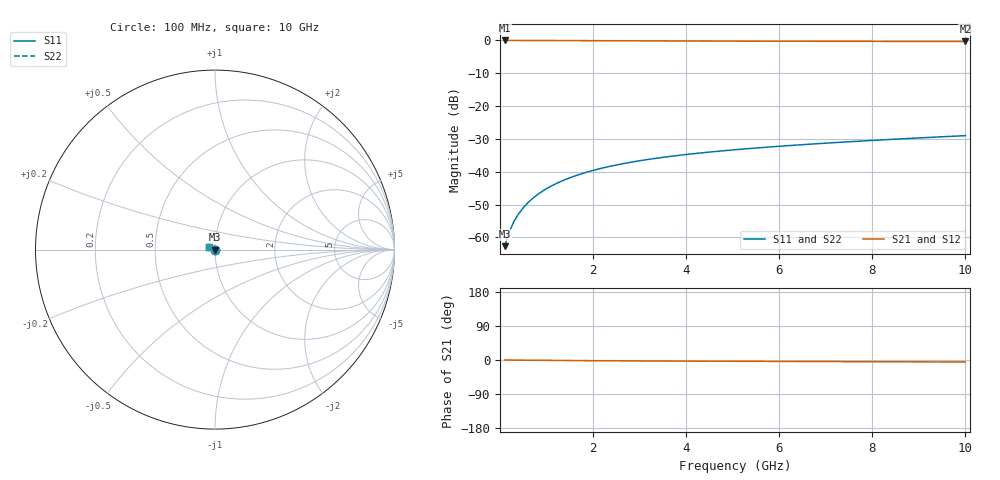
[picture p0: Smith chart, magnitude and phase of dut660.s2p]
! Touchstone file exported from HFSS 2024.1.0
!  File:  C:/UserFiles/LocalFiles/RDL_TSV_Batchsim/temp_TSV1_660_1779793118.aedt
!  Generated:  07:05:19 PM May 26, 2026
!  Design:  TSV1
!  Project:  temp_TSV1_660_1779793118
!  Setup:  Setup1
!  Solution:  Sweep
! Variables:
!  dtsv = 5.3um
!  hbump = 3um
!  htsv = 78.95um
!  lrdl = 252.1521522um
!  p = 40
!  p1 = 43.23um
!  t = 500um
!  trdl = 3um
!  wrdl = 24.89489489um
# GHz S MA R 50.000000
! Terminal data exported
! Port[1] = TSV22_T1
! Port[2] = TSV22_T2
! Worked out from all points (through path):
!   100 points, 100 MHz to 10 GHz, reference 50 ohm
!   highest |S21| = 0.00 dB at 100 MHz (marker M1); lowest = -0.3 dB at 10 GHz (marker M2)
!   lowest |S11| = -62.7 dB at 100 MHz (marker M3), VSWR 1.00, Z = 50 - j0.0565 ohm
!   |S11| at or under -10 dB: start of sweep to end of sweep
!   |S22| runs from -62.7 to -29.0 dB; largest |S21 - S12| = 5.2e-15
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0.1  0.0007361 -50.1  0.9995 -0.1  0.9995 -0.1  0.0007361 -50.1
! Gamma 0 0 0 0
! Port Impedance 50 0 50 0
0.2  0.001218 -69.8  0.9994 -0.2  0.9994 -0.2  0.001218 -69.8
0.3  0.001746 -79.4  0.9993 -0.3  0.9993 -0.3  0.001746 -79.4
0.4  0.002287 -85.4  0.9991 -0.4  0.9991 -0.4  0.002287 -85.4
0.5  0.002832 -89.9  0.999 -0.5  0.999 -0.5  0.002832 -89.9
0.6  0.003377 -93.6  0.9987 -0.6  0.9987 -0.6  0.003377 -93.6
0.7  0.003919 -96.8  0.9985 -0.7  0.9985 -0.7  0.003919 -96.8
0.8  0.004459 -99.7  0.9982 -0.8  0.9982 -0.8  0.004459 -99.7
0.9  0.004994 -102.4  0.9979 -0.8  0.9979 -0.8  0.004994 -102.4
1.1  0.00605 -107.4  0.9971 -1.0  0.9971 -1.0  0.00605 -107.4
1.4  0.007589 -114.1  0.9958 -1.3  0.9958 -1.3  0.007589 -114.1
1.6  0.008582 -118.3  0.9949 -1.4  0.9949 -1.4  0.008582 -118.3
1.8  0.009545 -122.3  0.9938 -1.6  0.9938 -1.6  0.009545 -122.3
2.1  0.01093 -128.0  0.9921 -1.8  0.9921 -1.8  0.01093 -128.0
2.5  0.01268 -135.2  0.9898 -2.1  0.9898 -2.1  0.01268 -135.2
2.9  0.01431 -141.8  0.9875 -2.3  0.9875 -2.3  0.01431 -141.8
3.4  0.01621 -149.5  0.9846 -2.6  0.9846 -2.6  0.01621 -149.5
4.2  0.01897 -160.4  0.9805 -3.0  0.9805 -3.0  0.01897 -160.4
5.1  0.0218 -171.1  0.9764 -3.4  0.9764 -3.4  0.0218 -171.1
6.7  0.02642 173.4  0.971 -4.0  0.971 -4.0  0.02642 173.4
8.4  0.03111 160.7  0.9669 -4.7  0.9669 -4.7  0.03111 160.7
10  0.03548 151.1  0.9641 -5.3  0.9641 -5.3  0.03548 151.1
